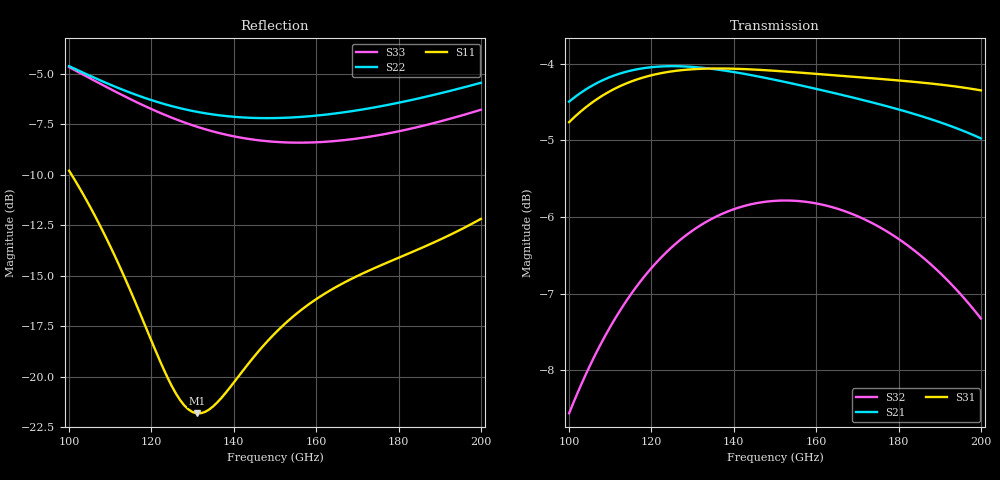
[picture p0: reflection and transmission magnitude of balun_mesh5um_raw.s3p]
#  GHZ S DB R 50.0
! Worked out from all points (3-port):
!   101 points, 100 GHz to 200 GHz, reference 50 ohm
!   strongest paths, dB at 100 GHz, 125 GHz, 150 GHz, 175 GHz, 200 GHz:
!     S31: -4.8, -4.1, -4.1, -4.2, -4.3
!     S21: -4.5, -4.0, -4.2, -4.5, -5.0
!     S32: -8.6, -6.4, -5.8, -6.1, -7.3
!   lowest |S11| = -21.8 dB at 131 GHz (marker M1), VSWR 1.18, Z = 42.9 + j2.58 ohm
!   |S11| at or under -10 dB: 100.6 GHz to end of sweep
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100  -9.81 127.0  -4.50 -17.9  -4.76 157.7
     -4.50 -17.9  -4.63 58.9  -8.56 88.0
     -4.76 157.7  -8.56 88.0  -4.68 47.7
114  -15.33 119.5  -4.10 -40.1  -4.26 134.0
     -4.10 -40.1  -5.88 47.4  -7.09 66.1
     -4.26 134.0  -7.09 66.1  -6.17 33.5
125  -20.50 136.3  -4.03 -56.0  -4.10 116.9
     -4.03 -56.0  -6.61 39.9  -6.39 50.1
     -4.10 116.9  -6.39 50.1  -7.19 24.4
131  -21.82 158.4  -4.05 -64.2  -4.07 108.1
     -4.05 -64.2  -6.89 36.1  -6.14 41.8
     -4.07 108.1  -6.14 41.8  -7.63 20.0
136  -21.28 175.6  -4.08 -70.8  -4.06 101.0
     -4.08 -70.8  -7.05 33.0  -5.99 35.1
     -4.06 101.0  -5.99 35.1  -7.92 16.5
150  -17.86 -165.7  -4.21 -88.3  -4.09 82.1
     -4.21 -88.3  -7.20 23.7  -5.79 17.2
     -4.09 82.1  -5.79 17.2  -8.38 6.9
161  -16.04 -164.1  -4.34 -101.4  -4.14 67.9
     -4.34 -101.4  -7.06 15.4  -5.83 3.7
     -4.14 67.9  -5.83 3.7  -8.39 -1.2
173  -14.74 -164.8  -4.50 -115.5  -4.19 52.8
     -4.50 -115.5  -6.71 5.3  -6.06 -10.7
     -4.19 52.8  -6.06 -10.7  -8.12 -10.9
187  -13.50 -165.6  -4.71 -132.0  -4.26 35.2
     -4.71 -132.0  -6.13 -8.0  -6.58 -27.4
     -4.26 35.2  -6.58 -27.4  -7.53 -23.7
200  -12.19 -166.7  -4.98 -147.7  -4.35 18.5
     -4.98 -147.7  -5.45 -21.6  -7.33 -43.1
     -4.35 18.5  -7.33 -43.1  -6.79 -36.9
